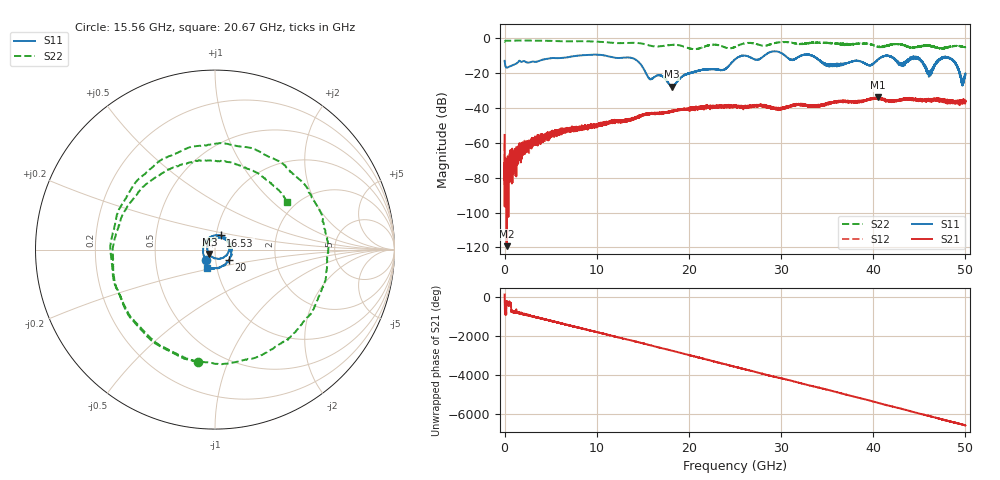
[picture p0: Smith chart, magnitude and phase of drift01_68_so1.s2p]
!Created with skrf (http://scikit-rf.org).
# Hz S RI R 50.0
!freq ReS11 ImS11 ReS21 ImS21 ReS12 ImS12 ReS22 ImS22
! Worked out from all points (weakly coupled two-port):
!   10001 points, 300 kHz to 50 GHz, reference 50 ohm
!   highest |S21| = -33.93 dB at 40.52 GHz (marker M1); lowest = -119.3 dB at 225.3 MHz (marker M2)
!   lowest |S11| = -27.9 dB at 18.12 GHz (marker M3), VSWR 1.08, Z = 46.9 - j2.32 ohm
!   |S11| at or under -10 dB: 10.9 GHz to 25.88 GHz (14.98 GHz wide, 81.5 % of centre); 33.32 GHz to 41.4 GHz (8.083 GHz wide, 21.6 % of centre); 41.41 GHz to end of sweep (the widest 3 of 13)
!   |S22| runs from -6.4 to -1.4 dB; largest |S21 - S12| = 0.0043
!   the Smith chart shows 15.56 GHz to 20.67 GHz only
!   S11 on the Smith chart (normalised r, x): 15.56 GHz: 0.89, -0.10; 16.53 GHz: 1.05, +0.17; 20 GHz: 1.16, -0.14; 20.67 GHz: 0.90, -0.18
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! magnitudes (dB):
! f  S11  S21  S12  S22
! 300 kHz  -13.0  -55.5  -60.5  -2.1
! 225.3 MHz  -16.9  -119.3  -77.0  -1.4
! 2.4 GHz  -14.0  -61.0  -60.7  -1.4
! 8.335 GHz  -9.9  -52.0  -51.2  -1.8
! 13.88 GHz  -11.5  -46.7  -46.7  -2.7
! 15.56 GHz  -22.2  -43.4  -43.4  -4.0
! 16.53 GHz  -21.4  -43.4  -43.1  -4.8
! 16.67 GHz  -21.3  -43.0  -43.1  -4.8
! 18.12 GHz  -27.9  -41.9  -42.2  -3.9
! 20 GHz  -20.2  -40.6  -40.7  -5.8
! 20.67 GHz  -19.1  -41.1  -40.6  -6.4
! 25 GHz  -12.2  -38.9  -39.1  -5.1
! 33.34 GHz  -10.2  -39.4  -39.0  -2.7
! 35.32 GHz  -15.5  -37.5  -37.3  -2.8
! 40.52 GHz  -12.3  -33.9  -34.2  -4.9
! 41.67 GHz  -10.1  -36.2  -36.0  -4.0
! 43.07 GHz  -15.2  -35.1  -35.6  -3.8
! 44.81 GHz  -11.0  -35.9  -35.5  -5.0
! 46.1 GHz  -21.2  -35.6  -35.3  -4.5
! 48.04 GHz  -11.0  -35.3  -35.9  -5.4
! 49.64 GHz  -24.2  -36.2  -36.4  -4.7
! 50 GHz  -21.0  -36.0  -36.4  -5.2
